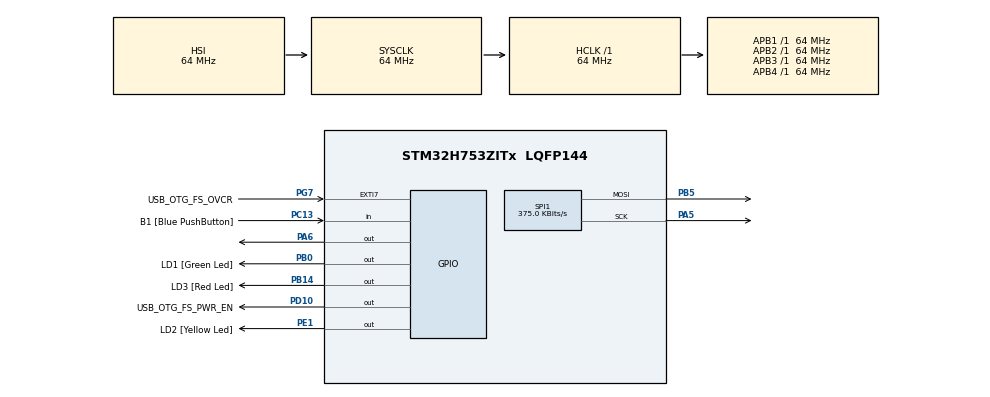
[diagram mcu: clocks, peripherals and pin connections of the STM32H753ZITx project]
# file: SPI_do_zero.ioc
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CORTEX_M7.CPU_DCache=Disabled
CORTEX_M7.CPU_ICache=Disabled
CORTEX_M7.MPU_Control=__NULL
Mcu.Family=STM32H7
Mcu.Name=STM32H753ZITx
Mcu.Package=LQFP144
NVIC.PriorityGroup=NVIC_PRIORITYGROUP_4
PA1.Signal=ETH_REF_CLK
PA11.Signal=USB_OTG_FS_DM
PA12.Signal=USB_OTG_FS_DP
PA2.Signal=ETH_MDIO
PA5.Mode=TX_Only_Simplex_Unidirect_Master
PA5.Signal=SPI1_SCK
PA6.Signal=GPIO_Output
PA8.Signal=USB_OTG_FS_SOF
PA9.Signal=USB_OTG_FS_VBUS
PB0.GPIO_Label=LD1 [Green Led]
PB0.Signal=GPIO_Output
PB13.Signal=ETH_TXD1
PB14.GPIO_Label=LD3 [Red Led]
PB14.Signal=GPIO_Output
PB5.Mode=TX_Only_Simplex_Unidirect_Master
PB5.Signal=SPI1_MOSI
PC1.Signal=ETH_MDC
PC13.GPIO_Label=B1 [Blue PushButton]
PC13.Signal=GPIO_Input
PC14-OSC32_IN\ (OSC32_IN).Mode=LSE-External-Oscillator
PC14-OSC32_IN\ (OSC32_IN).Signal=RCC_OSC32_IN
PC15-OSC32_OUT\ (OSC32_OUT).Mode=LSE-External-Oscillator
PC15-OSC32_OUT\ (OSC32_OUT).Signal=RCC_OSC32_OUT
PD10.GPIO_Label=USB_OTG_FS_PWR_EN
PD10.Signal=GPIO_Output
PD8.GPIO_Label=STLINK_RX
PD8.Signal=USART3_TX
PD9.GPIO_Label=STLINK_TX
PD9.Signal=USART3_RX
PE1.GPIO_Label=LD2 [Yellow Led]
PE1.Signal=GPIO_Output
PG11.Signal=ETH_TX_EN
PG13.Signal=ETH_TXD0
PG7.GPIO_Label=USB_OTG_FS_OVCR
PG7.Signal=GPXTI7
PH0-OSC_IN\ (PH0).Mode=HSE-External-Clock-Source
PH0-OSC_IN\ (PH0).Signal=RCC_OSC_IN
PH1-OSC_OUT\ (PH1).Signal=RCC_OSC_OUT
ProjectManager.HeapSize=0x200
ProjectManager.StackSize=0x400
ProjectManager.TargetToolchain=STM32CubeIDE
RCC.ADCFreq_Value=16125000
RCC.APB1Freq_Value=64000000
RCC.APB2Freq_Value=64000000
RCC.APB3Freq_Value=64000000
RCC.APB4Freq_Value=64000000
RCC.CortexFreq_Value=64000000
RCC.DIVM1=1
RCC.DIVN1=24
RCC.DIVQ1=4
RCC.HCLKFreq_Value=64000000
RCC.HSE_VALUE=8000000
RCC.PLL2FRACN=0
RCC.PLL3FRACN=0
RCC.PLLFRACN=0
RCC.PLLSourceVirtual=RCC_PLLSOURCE_HSE
RCC.PWR_Regulator_Voltage_Scale=PWR_REGULATOR_VOLTAGE_SCALE2
RCC.RTCClockSelection=RCC_RTCCLKSOURCE_LSE
RCC.SYSCLKFreq_VALUE=64000000
RCC.USBFreq_Value=48000000
SPI1.BaudRatePrescaler=SPI_BAUDRATEPRESCALER_128
SPI1.CalculateBaudRate=375.0 KBits/s
SPI1.DataSize=SPI_DATASIZE_8BIT
SPI1.Direction=SPI_DIRECTION_2LINES_TXONLY
SPI1.Mode=SPI_MODE_MASTER
SPI1.VirtualType=VM_MASTER
VP_MEMORYMAP_VS_MEMORYMAP.Mode=CurAppReg
VP_RTC_VS_RTC_Activate.Mode=RTC_Enabled
VP_RTC_VS_RTC_Calendar.Mode=RTC_Calendar
board=NUCLEO-H753ZI

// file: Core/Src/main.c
/* USER CODE BEGIN Header */
/**
  ******************************************************************************
  * @file           : main.c
  * @brief          : Main program body
  ******************************************************************************
  * @attention
  *
  * Copyright (c) 2025 STMicroelectronics.
  * All rights reserved.
  *
  * This software is licensed under terms that can be found in the LICENSE file
  * in the root directory of this software component.
  * If no LICENSE file comes with this software, it is provided AS-IS.
  *
  ******************************************************************************
  */
/* USER CODE END Header */
#include "main.h"

/* USER CODE BEGIN Includes */
#include "string.h"
#include "stdio.h"
/* USER CODE END Includes */

/* USER CODE BEGIN PTD */
#define MAX_SENSORS 9

char json_buffer[1024];

typedef struct {
    char type[32];
    char unit[16];
    float value;
    uint8_t available; // Flag to check if sensor data is valid
} Sensor;

typedef struct {
    char name[16]; // Changed from station_id to name to match API
    float latitude;
    float longitude;
    float elevationM; // Changed from elevation_m to elevationM to match API
    Sensor sensors[MAX_SENSORS];
    uint8_t num_sensors;
} Station;

/* USER CODE END PTD */

/* USER CODE BEGIN PD */

// Data structures for sensors and stations

// Sample station data. This would typically be updated with real sensor readings.
Station station1 = {
    .name = "STN001", // Matched to API requirements
    .latitude = -3.1355,
    .longitude = -60.0234,
    .elevationM = 18.4, // Matched to API requirements
    .sensors = {
        {"river_level", "m", 3.42, 1},
        {"rainfall", "mm", 2.8, 1},
        {"soil_moisture", "%", 63.0, 1},
        {"temperature_air", "C", 29.1, 1},
        {"humidity_air", "%", 77.5, 1},
        {"pressure", "hPa", 1013.2, 1},
        {"wind_speed", "m/s", 3.2, 0}, // Example of an unavailable sensor
        {"wind_direction", "deg", 225.0, 1},
        {"uv_index", "index", 6.3, 1}
    },
    .num_sensors = 9
};

/* USER CODE END PD */

RTC_HandleTypeDef hrtc;

SPI_HandleTypeDef hspi1;

void SystemClock_Config(void);
static void MX_GPIO_Init(void);
static void MX_SPI1_Init(void);
static void MX_RTC_Init(void);
/* USER CODE BEGIN PFP */
void generate_json(Station* station, char* json_out, size_t max_size);
void get_current_timestamp(char* buffer, size_t size);
/* USER CODE END PFP */

/* USER CODE BEGIN 0 */

void SPI_send_byte(uint8_t byte) {
    HAL_GPIO_WritePin(GPIOA, GPIO_PIN_6, GPIO_PIN_RESET);
    HAL_SPI_Transmit(&hspi1, &byte, 1, HAL_MAX_DELAY);
    HAL_GPIO_WritePin(GPIOA, GPIO_PIN_6, GPIO_PIN_SET);
}

void SPI_send_data(char* data, size_t size_of_data) {
    HAL_GPIO_WritePin(GPIOA, GPIO_PIN_6, GPIO_PIN_RESET);
    HAL_SPI_Transmit(&hspi1, data, size_of_data, HAL_MAX_DELAY);
    HAL_GPIO_WritePin(GPIOA, GPIO_PIN_6, GPIO_PIN_SET);
}

/**
 * Generates a JSON string from station data that matches the API specification.
 * station Pointer to the Station data structure.
 * json_out Output buffer for the JSON string.
 * max_size Maximum size of the output buffer.
 */
void generate_json(Station* station, char* json_out, size_t max_size) {
    char temp_buffer[1024];
    char sensor_buffer[256];
    char timestamp_buffer[32];

    // Get current time formatted as ISO 8601 string
    get_current_timestamp(timestamp_buffer, sizeof(timestamp_buffer));

    // Start building the main JSON object
    snprintf(json_out, max_size, "{\"timestamp\":\"%s\",\"stations\":[", timestamp_buffer);

    // Add station data
    snprintf(temp_buffer, sizeof(temp_buffer),
        "{\"name\":\"%s\",\"latitude\":%.4f,\"longitude\":%.4f,\"elevationM\":%.1f,\"sensors\":[",
        station->name, station->latitude, station->longitude, station->elevationM);
    strncat(json_out, temp_buffer, max_size - strlen(json_out) - 1);

    // Add sensor data
    int first_sensor = 1;
    for (int j = 0; j < station->num_sensors; j++) {
        Sensor* s = &station->sensors[j];
        if (s->available) { // Only add sensors with available data
            if (!first_sensor) {
                strncat(json_out, ",", max_size - strlen(json_out) - 1);
            }
            snprintf(sensor_buffer, sizeof(sensor_buffer),
                "{\"type\":\"%s\",\"unit\":\"%s\",\"value\":%.2f}",
                s->type, s->unit, s->value);
            strncat(json_out, sensor_buffer, max_size - strlen(json_out) - 1);
            first_sensor = 0;
        }
    }

    // Close all JSON structures
    strncat(json_out, "]}]}", max_size - strlen(json_out) - 1);
    // Add the special end character
    strncat(json_out, "~", max_size - strlen(json_out) - 1);
}

/**
 * Generates a fake ISO 8601 timestamp.
 * In a real application, this should come from an RTC (Real-Time Clock).
 * buffer Output buffer for the timestamp string.
 * size Size of the buffer.
 */
void get_current_timestamp(char* buffer, size_t size) {

	    RTC_TimeTypeDef sTime = {0};
	    RTC_DateTypeDef sDate = {0};

	    if (size < 20)
	    {//erro
	        return;
	    }
	    HAL_StatusTypeDef time_status = HAL_RTC_GetTime(&hrtc, &sTime, RTC_FORMAT_BIN);
	    HAL_StatusTypeDef date_status = HAL_RTC_GetDate(&hrtc, &sDate, RTC_FORMAT_BIN);

	    if (time_status != HAL_OK || date_status != HAL_OK)
	    {
	        // Handle error in reading RTC data
	        sprintf(buffer, "Error Reading RTC");
	    }
	    else
	    {
	        sprintf(buffer, "20%02d-%02d-%02d %02d:%02d:%02d",
	        sDate.Year, sDate.Month, sDate.Date,
	        sTime.Hours, sTime.Minutes, sTime.Seconds);
	    }
	    return;

}

/* USER CODE END 0 */

int main(void)
{

  /* MCU Configuration--------------------------------------------------------*/

  /* Reset of all peripherals, Initializes the Flash interface and the Systick. */
  HAL_Init();

  /* Configure the system clock */
  SystemClock_Config();

  /* Initialize all configured peripherals */
  MX_GPIO_Init();
  MX_SPI1_Init();
  MX_RTC_Init();
  /* USER CODE BEGIN 2 */
  while(1) {

	  generate_json(&station1, json_buffer, strlen(json_buffer));

	  HAL_Delay(500);
	  SPI_send_byte(0xA0);

	  SPI_send_data(json_buffer, strlen(json_buffer));

	  HAL_Delay(15000);
  }

  return 0;
  /* USER CODE END 2 */

  /* Infinite loop */
  while (1)
  {

  }
}

void SystemClock_Config(void)
{
  RCC_OscInitTypeDef RCC_OscInitStruct = {0};
  RCC_ClkInitTypeDef RCC_ClkInitStruct = {0};

  /** Supply configuration update enable
  */
  HAL_PWREx_ConfigSupply(PWR_LDO_SUPPLY);

  /** Configure the main internal regulator output voltage
  */
  __HAL_PWR_VOLTAGESCALING_CONFIG(PWR_REGULATOR_VOLTAGE_SCALE2);

  while(!__HAL_PWR_GET_FLAG(PWR_FLAG_VOSRDY)) {}

  /** Configure LSE Drive Capability
  */
  HAL_PWR_EnableBkUpAccess();
  __HAL_RCC_LSEDRIVE_CONFIG(RCC_LSEDRIVE_LOW);

  /** Initializes the RCC Oscillators according to the specified parameters
  * in the RCC_OscInitTypeDef structure.
  */
  RCC_OscInitStruct.OscillatorType = RCC_OSCILLATORTYPE_HSI|RCC_OSCILLATORTYPE_HSE
                              |RCC_OSCILLATORTYPE_LSE;
  RCC_OscInitStruct.HSEState = RCC_HSE_BYPASS;
  RCC_OscInitStruct.LSEState = RCC_LSE_ON;
  RCC_OscInitStruct.HSIState = RCC_HSI_DIV1;
  RCC_OscInitStruct.HSICalibrationValue = RCC_HSICALIBRATION_DEFAULT;
  RCC_OscInitStruct.PLL.PLLState = RCC_PLL_ON;
  RCC_OscInitStruct.PLL.PLLSource = RCC_PLLSOURCE_HSE;
  RCC_OscInitStruct.PLL.PLLM = 1;
  RCC_OscInitStruct.PLL.PLLN = 24;
  RCC_OscInitStruct.PLL.PLLP = 2;
  RCC_OscInitStruct.PLL.PLLQ = 4;
  RCC_OscInitStruct.PLL.PLLR = 2;
  RCC_OscInitStruct.PLL.PLLRGE = RCC_PLL1VCIRANGE_3;
  RCC_OscInitStruct.PLL.PLLVCOSEL = RCC_PLL1VCOWIDE;
  RCC_OscInitStruct.PLL.PLLFRACN = 0;
  if (HAL_RCC_OscConfig(&RCC_OscInitStruct) != HAL_OK)
  {
    Error_Handler();
  }

  /** Initializes the CPU, AHB and APB buses clocks
  */
  RCC_ClkInitStruct.ClockType = RCC_CLOCKTYPE_HCLK|RCC_CLOCKTYPE_SYSCLK
                              |RCC_CLOCKTYPE_PCLK1|RCC_CLOCKTYPE_PCLK2
                              |RCC_CLOCKTYPE_D3PCLK1|RCC_CLOCKTYPE_D1PCLK1;
  RCC_ClkInitStruct.SYSCLKSource = RCC_SYSCLKSOURCE_HSI;
  RCC_ClkInitStruct.SYSCLKDivider = RCC_SYSCLK_DIV1;
  RCC_ClkInitStruct.AHBCLKDivider = RCC_HCLK_DIV1;
  RCC_ClkInitStruct.APB3CLKDivider = RCC_APB3_DIV1;
  RCC_ClkInitStruct.APB1CLKDivider = RCC_APB1_DIV1;
  RCC_ClkInitStruct.APB2CLKDivider = RCC_APB2_DIV1;
  RCC_ClkInitStruct.APB4CLKDivider = RCC_APB4_DIV1;

  if (HAL_RCC_ClockConfig(&RCC_ClkInitStruct, FLASH_LATENCY_1) != HAL_OK)
  {
    Error_Handler();
  }
}

static void MX_RTC_Init(void)
{

  RTC_TimeTypeDef sTime = {0};
  RTC_DateTypeDef sDate = {0};

  /** Initialize RTC Only
  */
  hrtc.Instance = RTC;
  hrtc.Init.HourFormat = RTC_HOURFORMAT_24;
  hrtc.Init.AsynchPrediv = 127;
  hrtc.Init.SynchPrediv = 255;
  hrtc.Init.OutPut = RTC_OUTPUT_DISABLE;
  hrtc.Init.OutPutPolarity = RTC_OUTPUT_POLARITY_HIGH;
  hrtc.Init.OutPutType = RTC_OUTPUT_TYPE_OPENDRAIN;
  hrtc.Init.OutPutRemap = RTC_OUTPUT_REMAP_NONE;
  if (HAL_RTC_Init(&hrtc) != HAL_OK)
  {
    Error_Handler();
  }

  /** Initialize RTC and set the Time and Date
  */
  sTime.Hours = 0x0;
  sTime.Minutes = 0x0;
  sTime.Seconds = 0x0;
  sTime.DayLightSaving = RTC_DAYLIGHTSAVING_NONE;
  sTime.StoreOperation = RTC_STOREOPERATION_RESET;
  if (HAL_RTC_SetTime(&hrtc, &sTime, RTC_FORMAT_BCD) != HAL_OK)
  {
    Error_Handler();
  }
  sDate.WeekDay = RTC_WEEKDAY_MONDAY;
  sDate.Month = RTC_MONTH_JANUARY;
  sDate.Date = 0x1;
  sDate.Year = 0x0;

  if (HAL_RTC_SetDate(&hrtc, &sDate, RTC_FORMAT_BCD) != HAL_OK)
  {
    Error_Handler();
  }

}

static void MX_SPI1_Init(void)
{

  /* SPI1 parameter configuration*/
  hspi1.Instance = SPI1;
  hspi1.Init.Mode = SPI_MODE_MASTER;
  hspi1.Init.Direction = SPI_DIRECTION_2LINES_TXONLY;
  hspi1.Init.DataSize = SPI_DATASIZE_8BIT;
  hspi1.Init.CLKPolarity = SPI_POLARITY_LOW;
  hspi1.Init.CLKPhase = SPI_PHASE_1EDGE;
  hspi1.Init.NSS = SPI_NSS_SOFT;
  hspi1.Init.BaudRatePrescaler = SPI_BAUDRATEPRESCALER_128;
  hspi1.Init.FirstBit = SPI_FIRSTBIT_MSB;
  hspi1.Init.TIMode = SPI_TIMODE_DISABLE;
  hspi1.Init.CRCCalculation = SPI_CRCCALCULATION_DISABLE;
  hspi1.Init.CRCPolynomial = 0x0;
  hspi1.Init.NSSPMode = SPI_NSS_PULSE_ENABLE;
  hspi1.Init.NSSPolarity = SPI_NSS_POLARITY_LOW;
  hspi1.Init.FifoThreshold = SPI_FIFO_THRESHOLD_01DATA;
  hspi1.Init.TxCRCInitializationPattern = SPI_CRC_INITIALIZATION_ALL_ZERO_PATTERN;
  hspi1.Init.RxCRCInitializationPattern = SPI_CRC_INITIALIZATION_ALL_ZERO_PATTERN;
  hspi1.Init.MasterSSIdleness = SPI_MASTER_SS_IDLENESS_00CYCLE;
  hspi1.Init.MasterInterDataIdleness = SPI_MASTER_INTERDATA_IDLENESS_00CYCLE;
  hspi1.Init.MasterReceiverAutoSusp = SPI_MASTER_RX_AUTOSUSP_DISABLE;
  hspi1.Init.MasterKeepIOState = SPI_MASTER_KEEP_IO_STATE_DISABLE;
  hspi1.Init.IOSwap = SPI_IO_SWAP_DISABLE;
  if (HAL_SPI_Init(&hspi1) != HAL_OK)
  {
    Error_Handler();
  }

}

static void MX_GPIO_Init(void)
{
  GPIO_InitTypeDef GPIO_InitStruct = {0};

  /* GPIO Ports Clock Enable */
  __HAL_RCC_GPIOC_CLK_ENABLE();
  __HAL_RCC_GPIOH_CLK_ENABLE();
  __HAL_RCC_GPIOA_CLK_ENABLE();
  __HAL_RCC_GPIOB_CLK_ENABLE();
  __HAL_RCC_GPIOD_CLK_ENABLE();
  __HAL_RCC_GPIOG_CLK_ENABLE();
  __HAL_RCC_GPIOE_CLK_ENABLE();

  /*Configure GPIO pin Output Level */
  HAL_GPIO_WritePin(GPIOA, GPIO_PIN_6, GPIO_PIN_RESET);

  /*Configure GPIO pin Output Level */
  HAL_GPIO_WritePin(GPIOB, LD1_Pin|LD3_Pin, GPIO_PIN_RESET);

  /*Configure GPIO pin Output Level */
  HAL_GPIO_WritePin(USB_OTG_FS_PWR_EN_GPIO_Port, USB_OTG_FS_PWR_EN_Pin, GPIO_PIN_RESET);

  /*Configure GPIO pin Output Level */
  HAL_GPIO_WritePin(LD2_GPIO_Port, LD2_Pin, GPIO_PIN_RESET);

  /*Configure GPIO pin : B1_Pin */
  GPIO_InitStruct.Pin = B1_Pin;
  GPIO_InitStruct.Mode = GPIO_MODE_INPUT;
  GPIO_InitStruct.Pull = GPIO_NOPULL;
  HAL_GPIO_Init(B1_GPIO_Port, &GPIO_InitStruct);

  /*Configure GPIO pin : PC1 */
  GPIO_InitStruct.Pin = GPIO_PIN_1;
  GPIO_InitStruct.Mode = GPIO_MODE_AF_PP;
  GPIO_InitStruct.Pull = GPIO_NOPULL;
  GPIO_InitStruct.Speed = GPIO_SPEED_FREQ_LOW;
  GPIO_InitStruct.Alternate = GPIO_AF11_ETH;
  HAL_GPIO_Init(GPIOC, &GPIO_InitStruct);

  /*Configure GPIO pins : PA1 PA2 */
  GPIO_InitStruct.Pin = GPIO_PIN_1|GPIO_PIN_2;
  GPIO_InitStruct.Mode = GPIO_MODE_AF_PP;
  GPIO_InitStruct.Pull = GPIO_NOPULL;
  GPIO_InitStruct.Speed = GPIO_SPEED_FREQ_LOW;
  GPIO_InitStruct.Alternate = GPIO_AF11_ETH;
  HAL_GPIO_Init(GPIOA, &GPIO_InitStruct);

  /*Configure GPIO pin : PA6 */
  GPIO_InitStruct.Pin = GPIO_PIN_6;
  GPIO_InitStruct.Mode = GPIO_MODE_OUTPUT_PP;
  GPIO_InitStruct.Pull = GPIO_NOPULL;
  GPIO_InitStruct.Speed = GPIO_SPEED_FREQ_LOW;
  HAL_GPIO_Init(GPIOA, &GPIO_InitStruct);

  /*Configure GPIO pins : LD1_Pin LD3_Pin */
  GPIO_InitStruct.Pin = LD1_Pin|LD3_Pin;
  GPIO_InitStruct.Mode = GPIO_MODE_OUTPUT_PP;
  GPIO_InitStruct.Pull = GPIO_NOPULL;
  GPIO_InitStruct.Speed = GPIO_SPEED_FREQ_LOW;
  HAL_GPIO_Init(GPIOB, &GPIO_InitStruct);

  /*Configure GPIO pin : PB13 */
  GPIO_InitStruct.Pin = GPIO_PIN_13;
  GPIO_InitStruct.Mode = GPIO_MODE_AF_PP;
  GPIO_InitStruct.Pull = GPIO_NOPULL;
  GPIO_InitStruct.Speed = GPIO_SPEED_FREQ_LOW;
  GPIO_InitStruct.Alternate = GPIO_AF11_ETH;
  HAL_GPIO_Init(GPIOB, &GPIO_InitStruct);

  /*Configure GPIO pins : STLINK_RX_Pin STLINK_TX_Pin */
  GPIO_InitStruct.Pin = STLINK_RX_Pin|STLINK_TX_Pin;
  GPIO_InitStruct.Mode = GPIO_MODE_AF_PP;
  GPIO_InitStruct.Pull = GPIO_NOPULL;
  GPIO_InitStruct.Speed = GPIO_SPEED_FREQ_LOW;
  GPIO_InitStruct.Alternate = GPIO_AF7_USART3;
  HAL_GPIO_Init(GPIOD, &GPIO_InitStruct);

  /*Configure GPIO pin : USB_OTG_FS_PWR_EN_Pin */
  GPIO_InitStruct.Pin = USB_OTG_FS_PWR_EN_Pin;
  GPIO_InitStruct.Mode = GPIO_MODE_OUTPUT_PP;
  GPIO_InitStruct.Pull = GPIO_NOPULL;
  GPIO_InitStruct.Speed = GPIO_SPEED_FREQ_LOW;
  HAL_GPIO_Init(USB_OTG_FS_PWR_EN_GPIO_Port, &GPIO_InitStruct);

  /*Configure GPIO pin : USB_OTG_FS_OVCR_Pin */
  GPIO_InitStruct.Pin = USB_OTG_FS_OVCR_Pin;
  GPIO_InitStruct.Mode = GPIO_MODE_IT_RISING;
  GPIO_InitStruct.Pull = GPIO_NOPULL;
  HAL_GPIO_Init(USB_OTG_FS_OVCR_GPIO_Port, &GPIO_InitStruct);

  /*Configure GPIO pins : PA8 PA11 PA12 */
  GPIO_InitStruct.Pin = GPIO_PIN_8|GPIO_PIN_11|GPIO_PIN_12;
  GPIO_InitStruct.Mode = GPIO_MODE_AF_PP;
  GPIO_InitStruct.Pull = GPIO_NOPULL;
  GPIO_InitStruct.Speed = GPIO_SPEED_FREQ_LOW;
  GPIO_InitStruct.Alternate = GPIO_AF10_OTG1_FS;
  HAL_GPIO_Init(GPIOA, &GPIO_InitStruct);

  /*Configure GPIO pins : PG11 PG13 */
  GPIO_InitStruct.Pin = GPIO_PIN_11|GPIO_PIN_13;
  GPIO_InitStruct.Mode = GPIO_MODE_AF_PP;
  GPIO_InitStruct.Pull = GPIO_NOPULL;
  GPIO_InitStruct.Speed = GPIO_SPEED_FREQ_LOW;
  GPIO_InitStruct.Alternate = GPIO_AF11_ETH;
  HAL_GPIO_Init(GPIOG, &GPIO_InitStruct);

  /*Configure GPIO pin : LD2_Pin */
  GPIO_InitStruct.Pin = LD2_Pin;
  GPIO_InitStruct.Mode = GPIO_MODE_OUTPUT_PP;
  GPIO_InitStruct.Pull = GPIO_NOPULL;
  GPIO_InitStruct.Speed = GPIO_SPEED_FREQ_LOW;
  HAL_GPIO_Init(LD2_GPIO_Port, &GPIO_InitStruct);

}

void Error_Handler(void)
{
  __disable_irq();
  while (1)
  {
  }
}
